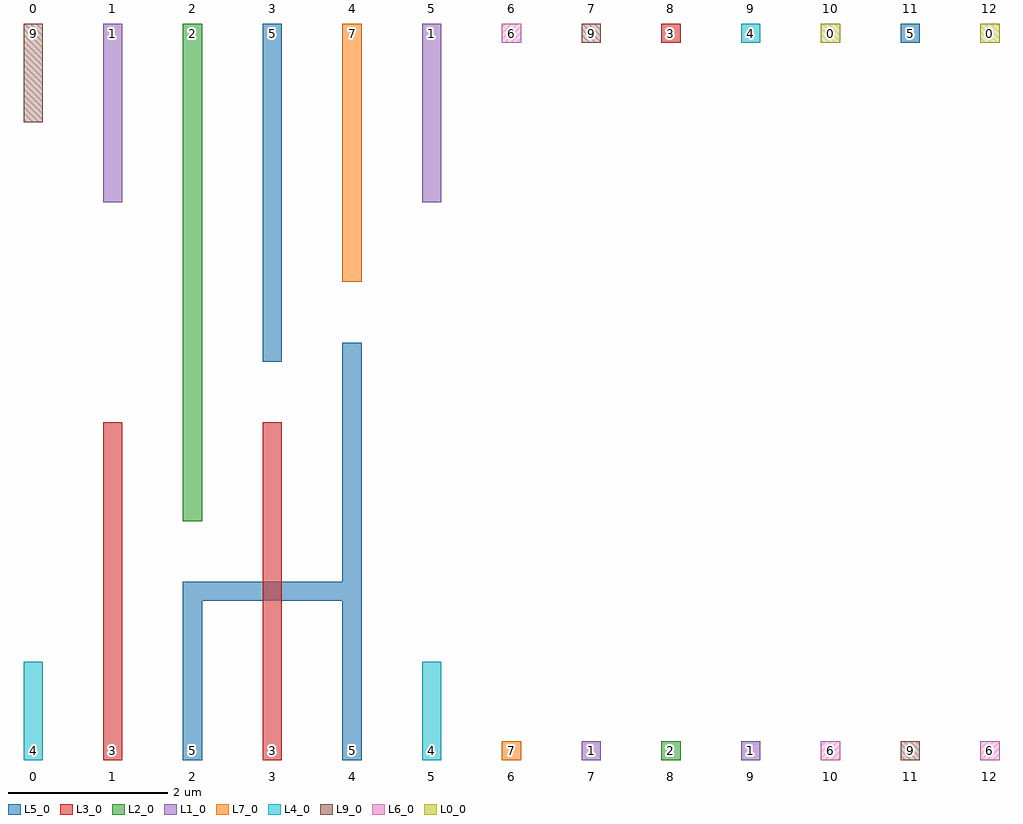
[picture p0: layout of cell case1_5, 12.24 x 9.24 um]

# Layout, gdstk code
import gdstk
lib = gdstk.Library(unit=1e-6, precision=1e-09)
def R(c, l, rs):  # rectangles x0, y0, x1, y1
    for r in rs: c.add(gdstk.rectangle(r[:2], r[2:], *l))
L0_0 = (0, 0)
L1_0 = (1, 0)
L2_0 = (2, 0)
L3_0 = (3, 0)
L4_0 = (4, 0)
L5_0 = (5, 0)
L6_0 = (6, 0)
L7_0 = (7, 0)
L9_0 = (9, 0)

case1_5 = lib.new_cell('case1_5')
R(case1_5, L0_0, [(9.88,8.88,10.12,9.12), (11.88,8.88,12.12,9.12)])
R(case1_5, L1_0, [(6.88,-0.12,7.12,0.12), (8.88,-0.12,9.12,0.12), (0.88,6.88,1.12,9.12), (4.88,6.88,5.12,9.12), (0.88,8.88,1.12,9.12), (4.88,8.88,5.12,9.12)])
R(case1_5, L2_0, [(7.88,-0.12,8.12,0.12), (1.88,2.88,2.12,9.12), (1.88,8.88,2.12,9.12)])
R(case1_5, L3_0, [(0.88,-0.12,1.12,4.12), (0.88,-0.12,1.12,0.12), (2.88,-0.12,3.12,4.12), (2.88,-0.12,3.12,0.12), (7.88,8.88,8.12,9.12)])
R(case1_5, L4_0, [(-0.12,-0.12,0.12,1.12), (-0.12,-0.12,0.12,0.12), (4.88,-0.12,5.12,1.12), (4.88,-0.12,5.12,0.12), (8.88,8.88,9.12,9.12)])
R(case1_5, L5_0, [(1.88,-0.12,2.12,2.12), (1.88,-0.12,2.12,0.12), (3.88,-0.12,4.12,2.12), (3.88,-0.12,4.12,0.12), (1.88,1.88,4.12,2.12), (3.88,1.88,4.12,5.12), (2.88,4.88,3.12,9.12), (2.88,8.88,3.12,9.12), (10.88,8.88,11.12,9.12)])
R(case1_5, L6_0, [(9.88,-0.12,10.12,0.12), (11.88,-0.12,12.12,0.12), (5.88,8.88,6.12,9.12)])
R(case1_5, L7_0, [(5.88,-0.12,6.12,0.12), (3.88,5.88,4.12,9.12), (3.88,8.88,4.12,9.12)])
R(case1_5, L9_0, [(10.88,-0.12,11.12,0.12), (-0.12,7.88,0.12,9.12), (-0.12,8.88,0.12,9.12), (6.88,8.88,7.12,9.12)])
case1_5.add(gdstk.Label('0', (0,9.4), layer=215, texttype=1))
case1_5.add(gdstk.Label('9', (0,9), layer=215, texttype=1))
case1_5.add(gdstk.Label('1', (1,9.4), layer=215, texttype=1))
case1_5.add(gdstk.Label('1', (1,9), layer=215, texttype=1))
case1_5.add(gdstk.Label('2', (2,9.4), layer=215, texttype=1))
case1_5.add(gdstk.Label('2', (2,9), layer=215, texttype=1))
case1_5.add(gdstk.Label('3', (3,9.4), layer=215, texttype=1))
case1_5.add(gdstk.Label('5', (3,9), layer=215, texttype=1))
case1_5.add(gdstk.Label('4', (4,9.4), layer=215, texttype=1))
case1_5.add(gdstk.Label('7', (4,9), layer=215, texttype=1))
case1_5.add(gdstk.Label('5', (5,9.4), layer=215, texttype=1))
case1_5.add(gdstk.Label('1', (5,9), layer=215, texttype=1))
case1_5.add(gdstk.Label('6', (6,9.4), layer=215, texttype=1))
case1_5.add(gdstk.Label('6', (6,9), layer=215, texttype=1))
case1_5.add(gdstk.Label('7', (7,9.4), layer=215, texttype=1))
case1_5.add(gdstk.Label('9', (7,9), layer=215, texttype=1))
case1_5.add(gdstk.Label('8', (8,9.4), layer=215, texttype=1))
case1_5.add(gdstk.Label('3', (8,9), layer=215, texttype=1))
case1_5.add(gdstk.Label('9', (9,9.4), layer=215, texttype=1))
case1_5.add(gdstk.Label('4', (9,9), layer=215, texttype=1))
case1_5.add(gdstk.Label('10', (10,9.4), layer=215, texttype=1))
case1_5.add(gdstk.Label('0', (10,9), layer=215, texttype=1))
case1_5.add(gdstk.Label('11', (11,9.4), layer=215, texttype=1))
case1_5.add(gdstk.Label('5', (11,9), layer=215, texttype=1))
case1_5.add(gdstk.Label('12', (12,9.4), layer=215, texttype=1))
case1_5.add(gdstk.Label('0', (12,9), layer=215, texttype=1))
case1_5.add(gdstk.Label('0', (0,-0.4), layer=215, texttype=1))
case1_5.add(gdstk.Label('4', (0,0), layer=215, texttype=1))
case1_5.add(gdstk.Label('1', (1,-0.4), layer=215, texttype=1))
case1_5.add(gdstk.Label('3', (1,0), layer=215, texttype=1))
case1_5.add(gdstk.Label('2', (2,-0.4), layer=215, texttype=1))
case1_5.add(gdstk.Label('5', (2,0), layer=215, texttype=1))
case1_5.add(gdstk.Label('3', (3,-0.4), layer=215, texttype=1))
case1_5.add(gdstk.Label('3', (3,0), layer=215, texttype=1))
case1_5.add(gdstk.Label('4', (4,-0.4), layer=215, texttype=1))
case1_5.add(gdstk.Label('5', (4,0), layer=215, texttype=1))
case1_5.add(gdstk.Label('5', (5,-0.4), layer=215, texttype=1))
case1_5.add(gdstk.Label('4', (5,0), layer=215, texttype=1))
case1_5.add(gdstk.Label('6', (6,-0.4), layer=215, texttype=1))
case1_5.add(gdstk.Label('7', (6,0), layer=215, texttype=1))
case1_5.add(gdstk.Label('7', (7,-0.4), layer=215, texttype=1))
case1_5.add(gdstk.Label('1', (7,0), layer=215, texttype=1))
case1_5.add(gdstk.Label('8', (8,-0.4), layer=215, texttype=1))
case1_5.add(gdstk.Label('2', (8,0), layer=215, texttype=1))
case1_5.add(gdstk.Label('9', (9,-0.4), layer=215, texttype=1))
case1_5.add(gdstk.Label('1', (9,0), layer=215, texttype=1))
case1_5.add(gdstk.Label('10', (10,-0.4), layer=215, texttype=1))
case1_5.add(gdstk.Label('6', (10,0), layer=215, texttype=1))
case1_5.add(gdstk.Label('11', (11,-0.4), layer=215, texttype=1))
case1_5.add(gdstk.Label('9', (11,0), layer=215, texttype=1))
case1_5.add(gdstk.Label('12', (12,-0.4), layer=215, texttype=1))
case1_5.add(gdstk.Label('6', (12,0), layer=215, texttype=1))

lib.write_gds('case1_5.gds')
